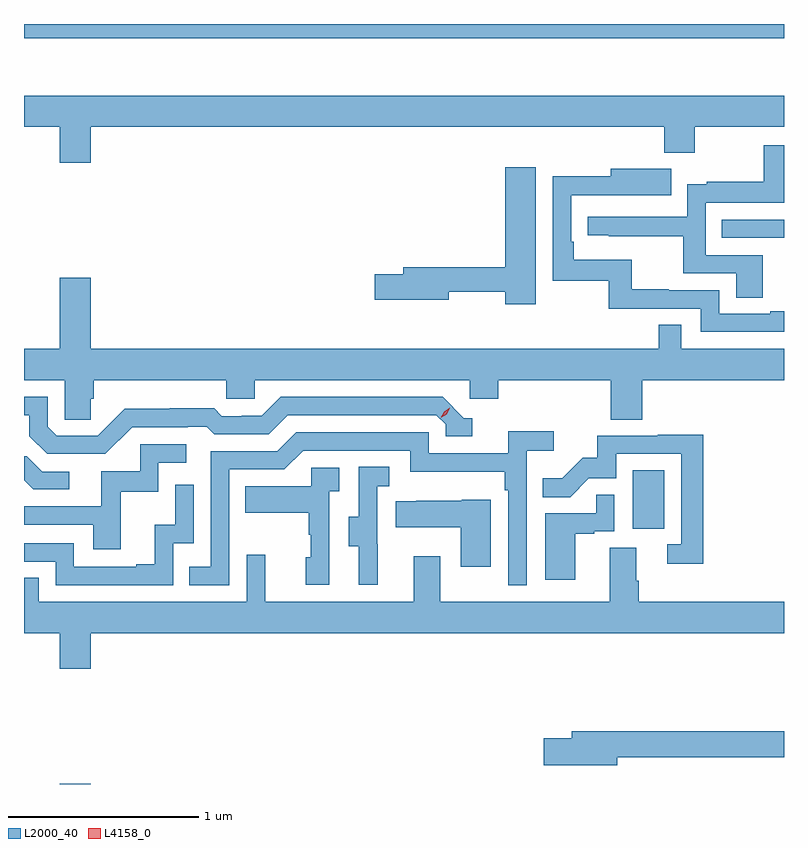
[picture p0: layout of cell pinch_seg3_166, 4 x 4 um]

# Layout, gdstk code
import gdstk
lib = gdstk.Library(unit=1e-6, precision=1e-09)
def R(c, l, rs):  # rectangles x0, y0, x1, y1
    for r in rs: c.add(gdstk.rectangle(r[:2], r[2:], *l))
def P(c, l, *ps):  # polygons
    for p in ps: c.add(gdstk.Polygon(p, *l))
L2000_40 = (2000, 40)
L4158_0 = (4158, 0)

pinch_seg3_166 = lib.new_cell('pinch_seg3_166')
R(pinch_seg3_166, L2000_40, [(1100.072,709.446,1100.236,709.447), (1103.09,710.79,1103.254,711.097), (1103.557,712.32,1103.885,712.416), (1099.885,713.37,1103.885,713.446)])
P(pinch_seg3_166, L2000_40, [(1100.236,712.904),(1103.255,712.904),(1103.255,712.769),(1103.415,712.769),(1103.415,712.904),(1103.885,712.904),(1103.885,713.068),(1099.885,713.068),(1099.885,712.904),(1100.072,712.904),(1100.072,712.716),(1100.236,712.716)],
  [(1103.773,712.23),(1103.472,712.23),(1103.472,712.506),(1103.885,712.506),(1103.885,712.809),(1103.778,712.809),(1103.778,712.615),(1103.479,712.615),(1103.479,712.603),(1103.376,712.603),(1103.376,712.431),(1102.851,712.431),(1102.851,712.335),(1102.963,712.335),(1102.963,712.33),(1103.356,712.33),(1103.356,712.134),(1103.633,712.134),(1103.633,712.006),(1103.773,712.006)],
  [(1102.579,712.693),(1102.418,712.693),(1102.418,712.166),(1101.881,712.166),(1101.881,712.13),(1101.732,712.13),(1101.732,711.995),(1102.12,711.995),(1102.12,712.038),(1102.418,712.038),(1102.418,711.972),(1102.579,711.972)],
  [(1103.885,711.934),(1103.813,711.934),(1103.813,711.921),(1103.544,711.921),(1103.544,712.044),(1103.279,712.044),(1103.279,712.049),(1103.083,712.049),(1103.083,712.204),(1102.778,712.204),(1102.778,712.3),(1102.764,712.3),(1102.764,712.545),(1103.077,712.545),(1103.077,712.544),(1103.291,712.544),(1103.291,712.684),(1102.973,712.684),(1102.973,712.646),(1102.668,712.646),(1102.668,712.095),(1102.962,712.095),(1102.962,711.948),(1103.448,711.948),(1103.448,711.825),(1103.885,711.825)],
  [(1100.237,711.474),(1100.252,711.474),(1100.252,711.572),(1100.949,711.572),(1100.949,711.474),(1101.099,711.474),(1101.099,711.572),(1102.23,711.572),(1102.23,711.474),(1102.382,711.474),(1102.382,711.572),(1102.973,711.572),(1102.973,711.364),(1103.138,711.364),(1103.138,711.572),(1103.885,711.572),(1103.885,711.736),(1103.343,711.736),(1103.343,711.863),(1103.227,711.863),(1103.227,711.736),(1100.236,711.736),(1100.236,712.111),(1100.072,712.111),(1100.072,711.736),(1099.885,711.736),(1099.885,711.572),(1100.1,711.572),(1100.1,711.364),(1100.237,711.364)],
  [(1100.454,711.324),(1100.747,711.324),(1100.747,711.327),(1100.846,711.327),(1100.885,711.288),(1101.174,711.288),(1101.273,711.387),(1102.056,711.387),(1102.104,711.339),(1102.104,711.276),(1102.243,711.276),(1102.243,711.372),(1102.2,711.372),(1102.089,711.483),(1101.236,711.483),(1101.137,711.384),(1101.03,711.384),(1101.03,711.381),(1100.927,711.381),(1100.885,711.424),(1100.652,711.424),(1100.652,711.421),(1100.416,711.421),(1100.274,711.279),(1100.058,711.279),(1100.01,711.327),(1100.01,711.483),(1099.885,711.483),(1099.885,711.387),(1099.913,711.387),(1099.913,711.277),(1100.007,711.183),(1100.313,711.183)],
  [(1100.964,711.102),(1101.255,711.102),(1101.354,711.201),(1101.918,711.201),(1101.918,711.089),(1102.414,711.089),(1102.414,710.993),(1102.434,710.993),(1102.434,710.493),(1102.53,710.493),(1102.53,711.2),(1102.672,711.2),(1102.672,711.302),(1102.433,711.302),(1102.433,711.186),(1102.014,711.186),(1102.014,711.297),(1101.317,711.297),(1101.218,711.198),(1100.868,711.198),(1100.868,710.589),(1100.755,710.589),(1100.755,710.493),(1100.964,710.493)],
  [(1103.459,711.284),(1103.221,711.284),(1103.221,711.279),(1102.903,711.279),(1102.903,711.162),(1102.826,711.162),(1102.719,711.055),(1102.615,711.055),(1102.615,710.956),(1102.759,710.956),(1102.857,711.054),(1103.001,711.054),(1103.001,711.183),(1103.343,711.183),(1103.343,710.709),(1103.271,710.709),(1103.271,710.604),(1103.459,710.604)],
  [(1100.393,710.985),(1100.592,710.985),(1100.592,711.138),(1100.74,711.138),(1100.74,711.234),(1100.496,711.234),(1100.496,711.093),(1100.291,711.093),(1100.291,710.907),(1099.885,710.907),(1099.885,710.811),(1100.249,710.811),(1100.249,710.682),(1100.393,710.682)],
  [(1100.122,711.09),(1099.98,711.09),(1099.9,711.17),(1099.885,711.17),(1099.885,711.046),(1099.934,710.997),(1100.122,710.997)],
  [(1101.746,710.709),(1101.744,710.709),(1101.744,711.013),(1101.808,711.013),(1101.808,711.116),(1101.648,711.116),(1101.648,710.853),(1101.593,710.853),(1101.593,710.698),(1101.647,710.698),(1101.647,710.496),(1101.746,710.496)],
  [(1101.492,710.987),(1101.544,710.987),(1101.544,711.111),(1101.396,711.111),(1101.396,711.013),(1101.049,711.013),(1101.049,710.873),(1101.384,710.873),(1101.384,710.759),(1101.394,710.759),(1101.394,710.64),(1101.368,710.64),(1101.368,710.496),(1101.492,710.496)],
  [(1100.67,710.712),(1100.778,710.712),(1100.778,711.022),(1100.682,711.022),(1100.682,710.81),(1100.573,710.81),(1100.573,710.602),(1100.477,710.602),(1100.477,710.589),(1100.148,710.589),(1100.148,710.712),(1099.885,710.712),(1099.885,710.616),(1100.052,710.616),(1100.052,710.493),(1100.67,710.493)],
  [(1102.786,710.763),(1102.886,710.763),(1102.886,710.775),(1102.992,710.775),(1102.992,710.969),(1102.897,710.969),(1102.897,710.871),(1102.628,710.871),(1102.628,710.52),(1102.786,710.52)],
  [(1102.342,710.941),(1102.188,710.941),(1102.188,710.938),(1101.949,710.938),(1101.949,710.935),(1101.841,710.935),(1101.841,710.798),(1102.184,710.798),(1102.184,710.589),(1102.342,710.589)],
  [(1100.236,710.24),(1103.885,710.24),(1103.885,710.404),(1103.12,710.404),(1103.12,710.516),(1103.107,710.516),(1103.107,710.69),(1102.967,710.69),(1102.967,710.404),(1102.075,710.404),(1102.075,710.644),(1101.935,710.644),(1101.935,710.404),(1101.155,710.404),(1101.155,710.653),(1101.057,710.653),(1101.057,710.404),(1099.962,710.404),(1099.962,710.531),(1099.885,710.531),(1099.885,710.24),(1100.072,710.24),(1100.072,710.052),(1100.236,710.052)],
  [(1103.008,709.588),(1103.885,709.588),(1103.885,709.724),(1102.769,709.724),(1102.769,709.688),(1102.62,709.688),(1102.62,709.546),(1103.008,709.546)])
P(pinch_seg3_166, L4158_0, [(1102.079,711.374),(1102.079,711.374),(1102.096,711.406),(1102.127,711.425),(1102.127,711.425),(1102.127,711.425),(1102.11,711.393),(1102.079,711.374)])

lib.write_gds('pinch_seg3_166.gds')
